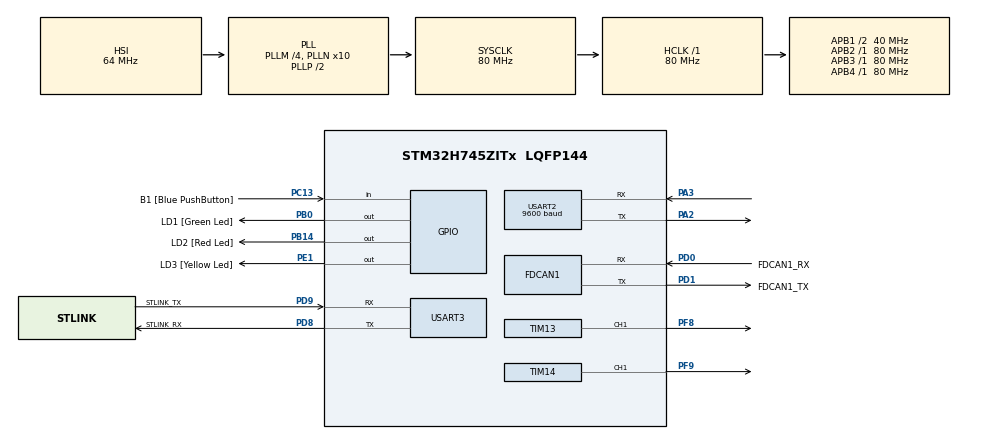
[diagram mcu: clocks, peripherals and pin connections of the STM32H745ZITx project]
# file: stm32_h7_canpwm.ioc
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CortexM4.IPs=BDMA,CORTEX_M4\:I,DEBUG,DMA,FATFS_M4\:I,FREERTOS_M4\:I,GPIO,IWDG2\:I,MDMA,NVIC2\:I,OPENAMP_M4\:I,PDM2PCM_M4\:I,PWR,RCC,RESMGR_UTILITY,SYS_M4\:I,USB_DEVICE_M4\:I,USB_HOST_M4\:I,VREFBUF,WWDG2\:I,USART3
CortexM4.Pins=PE1
CortexM7.IPs=BDMA\:I,CORTEX_M7\:I,DEBUG\:I,DMA\:I,FATFS_M7\:I,FREERTOS_M7\:I,GPIO\:I,IWDG1\:I,MDMA\:I,NVIC1\:I,OPENAMP_M7\:I,PDM2PCM_M7\:I,PWR\:I,RCC\:I,RESMGR_UTILITY\:I,SYS\:I,USB_DEVICE_M7\:I,USB_HOST_M7\:I,VREFBUF\:I,WWDG1\:I,USART3\:I,FDCAN1\:I,MEMORYMAP\:I,TIM13\:I,TIM14\:I,USART2\:I
CortexM7.Pins=PC13,PB0,PB14
FDCAN1.CalculateBaudRateNominal=500000
FDCAN1.CalculateTimeBitNominal=2000
FDCAN1.CalculateTimeQuantumNominal=50.0
FDCAN1.Mode=FDCAN_MODE_NORMAL
FDCAN1.NominalPrescaler=2
FDCAN1.NominalSyncJumpWidth=8
FDCAN1.NominalTimeSeg1=0x1F
FDCAN1.NominalTimeSeg2=8
FDCAN1.ProtocolException=ENABLE
FDCAN1.RxFifo0ElmtsNbr=50
FDCAN1.StdFiltersNbr=1
FDCAN1.TxFifoQueueElmtsNbr=1
Mcu.Family=STM32H7
Mcu.Name=STM32H745ZITx
Mcu.Package=LQFP144
NVIC1.PriorityGroup=NVIC_PRIORITYGROUP_4
NVIC1.USART2_IRQn=true\:0\:0\:false\:false\:true\:true\:true\:true
NVIC1.USART3_IRQn=true\:0\:0\:false\:false\:true\:true\:true\:true
NVIC2.PriorityGroup=NVIC_PRIORITYGROUP_4
PA13\ (JTMS/SWDIO).Mode=Serial_Wire
PA13\ (JTMS/SWDIO).PinAttribute=CortexM7
PA13\ (JTMS/SWDIO).Signal=DEBUG_JTMS-SWDIO
PA14\ (JTCK/SWCLK).Mode=Serial_Wire
PA14\ (JTCK/SWCLK).PinAttribute=CortexM7
PA14\ (JTCK/SWCLK).Signal=DEBUG_JTCK-SWCLK
PA2.Mode=Asynchronous
PA2.PinAttribute=CortexM7
PA2.Signal=USART2_TX
PA3.Mode=Asynchronous
PA3.PinAttribute=CortexM7
PA3.Signal=USART2_RX
PB0.GPIO_Label=LD1 [Green Led]
PB0.PinAttribute=CortexM7
PB0.Signal=GPIO_Output
PB14.GPIO_Label=LD2 [Red Led]
PB14.PinAttribute=CortexM7
PB14.Signal=GPIO_Output
PC13.GPIO_Label=B1 [Blue PushButton]
PC13.PinAttribute=CortexM7
PC13.Signal=GPIO_Input
PC14-OSC32_IN\ (OSC32_IN).Mode=LSE-External-Oscillator
PC14-OSC32_IN\ (OSC32_IN).PinAttribute=CortexM7
PC14-OSC32_IN\ (OSC32_IN).Signal=RCC_OSC32_IN
PC15-OSC32_OUT\ (OSC32_OUT).Mode=LSE-External-Oscillator
PC15-OSC32_OUT\ (OSC32_OUT).PinAttribute=CortexM7
PC15-OSC32_OUT\ (OSC32_OUT).Signal=RCC_OSC32_OUT
PD0.GPIO_Label=FDCAN1_RX
PD0.GPIO_Speed=GPIO_SPEED_FREQ_VERY_HIGH
PD0.Mode=FDCAN_Activate
PD0.PinAttribute=CortexM7
PD0.Signal=FDCAN1_RX
PD1.GPIO_Label=FDCAN1_TX
PD1.GPIO_PuPd=GPIO_PULLUP
PD1.GPIO_Speed=GPIO_SPEED_FREQ_VERY_HIGH
PD1.Mode=FDCAN_Activate
PD1.PinAttribute=CortexM7
PD1.Signal=FDCAN1_TX
PD8.GPIO_Label=STLINK_RX
PD8.Mode=Asynchronous
PD8.PinAttribute=CortexM7
PD8.Signal=USART3_TX
PD9.GPIO_Label=STLINK_TX
PD9.Mode=Asynchronous
PD9.PinAttribute=CortexM7
PD9.Signal=USART3_RX
PE1.GPIO_Label=LD3 [Yellow Led]
PE1.PinAttribute=CortexM4
PE1.Signal=GPIO_Output
PF8.PinAttribute=CortexM7
PF8.Signal=S_TIM13_CH1
PF9.PinAttribute=CortexM7
PF9.Signal=S_TIM14_CH1
PH0-OSC_IN\ (PH0).Mode=HSE-External-Clock-Source
PH0-OSC_IN\ (PH0).PinAttribute=CortexM7
PH0-OSC_IN\ (PH0).Signal=RCC_OSC_IN
ProjectManager.HeapSize=M4-0x200,M7-0x200
ProjectManager.StackSize=M4-0x400,M7-0x400
ProjectManager.TargetToolchain=STM32CubeIDE
RCC.ADCFreq_Value=72000000
RCC.APB1Freq_Value=40000000
RCC.APB2Freq_Value=80000000
RCC.APB3Freq_Value=80000000
RCC.APB4Freq_Value=80000000
RCC.CortexFreq_Value=80000000
RCC.D2PPRE1=RCC_APB1_DIV2
RCC.DIVM1=4
RCC.DIVM2=4
RCC.DIVN1=10
RCC.DIVN2=9
RCC.DIVQ1=4
RCC.HCLKFreq_Value=80000000
RCC.HSE_VALUE=8000000
RCC.PLLFRACN=0
RCC.SYSCLKFreq_VALUE=80000000
RCC.SYSCLKSource=RCC_SYSCLKSOURCE_PLLCLK
RCC.SupplySource=PWR_DIRECT_SMPS_SUPPLY
RCC.USBFreq_Value=40000000
SH.S_TIM13_CH1.0=TIM13_CH1,PWM Generation1 CH1
SH.S_TIM14_CH1.0=TIM14_CH1,PWM Generation1 CH1
SYS.userName=SYS_M7
TIM13.Channel=TIM_CHANNEL_1
TIM13.Period=19999
TIM13.Prescaler=79
TIM13.Pulse=1500
TIM14.Channel=TIM_CHANNEL_1
TIM14.Period=19999
TIM14.Prescaler=79
TIM14.Pulse=1500
USART2.BaudRate=9600
USART2.VirtualMode-Asynchronous=VM_ASYNC
USART3.VirtualMode-Asynchronous=VM_ASYNC
VP_MEMORYMAP_VS_MEMORYMAP.Mode=CurAppReg
VP_SYS_M4_VS_Systick.Mode=SysTick
VP_TIM13_VS_ClockSourceINT.Mode=Enable_Timer
VP_TIM14_VS_ClockSourceINT.Mode=Enable_Timer
board=custom

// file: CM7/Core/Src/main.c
/* USER CODE BEGIN Header */
/**
  ******************************************************************************
  * @file           : main.c
  * @brief          : Main program body
  ******************************************************************************
  * @attention
  *
  * Copyright (c) 2022 STMicroelectronics.
  * All rights reserved.
  *
  * This software is licensed under terms that can be found in the LICENSE file
  * in the root directory of this software component.
  * If no LICENSE file comes with this software, it is provided AS-IS.
  *
  ******************************************************************************
  */
/* USER CODE END Header */
#include "main.h"

/* USER CODE BEGIN Includes */
#include "myprintf.h"
#include <stdbool.h>
#include <string.h>
#include <ctype.h>
#include <stdlib.h>   // strtod
#include <errno.h>    // errno, ERANGE
#include <math.h>     // isfinite
#include <stdint.h>
#define UART_MAILBOX_IMPL     // <-- defines the implementation once
#include "uart_mailbox.h"
/* USER CODE END Includes */

/* USER CODE BEGIN PD */

#ifndef HSEM_ID_0
#define HSEM_ID_0 (0U) /* HW semaphore 0*/
#endif
/* USER CODE END PD */

FDCAN_HandleTypeDef hfdcan1;

TIM_HandleTypeDef htim13;
TIM_HandleTypeDef htim14;

UART_HandleTypeDef huart2;
UART_HandleTypeDef huart3;

/* USER CODE BEGIN PV */
float turn = 0.5f;
int8_t throttle = 0;
int8_t steering = 0;
float speed = 1.0f;   // throttle multiplier

FDCAN_FilterTypeDef sFilterConfig;
FDCAN_TxHeaderTypeDef TxHeader;
FDCAN_RxHeaderTypeDef RxHeader;
uint8_t TxData[8] = {0x10, 0x34, 0x54, 0x76, 0x98, 0x00, 0x11, 0x22};
uint8_t RxData[8];
static uart_mb_t *g_mb = NULL;   // <-- app-owned “global”
/* USER CODE END PV */

void SystemClock_Config(void);
static void MX_GPIO_Init(void);
static void MX_USART3_UART_Init(void);
static void MX_FDCAN1_Init(void);
static void MX_TIM13_Init(void);
static void MX_TIM14_Init(void);
static void MX_USART2_UART_Init(void);
/* USER CODE BEGIN PFP */
void handleToggle(char **args, int argc);
void handleSetTurn(char **args, int argc);
/* USER CODE END PFP */

/* USER CODE BEGIN 0 */
// COMMANDS
#ifndef CMD_BUF_SZ
#define CMD_BUF_SZ 128
#endif
#define MAX_ARGS 8
typedef void (*CommandHandler)(char **args, int argc);
typedef struct {
    const char *name;
    CommandHandler handler;
} CommandEntry;
typedef struct {
    CommandHandler handler;
    char *args[MAX_ARGS];
    int argc;
    bool valid;
} ParsedCommand;
const CommandEntry commandTable[] = {
    { "TOGGLE", handleToggle },
    { "SETTURN", handleSetTurn },
};
#define NUM_COMMANDS (sizeof(commandTable) / sizeof(commandTable[0]))

// CAN FUNCTIONS
static inline uint8_t dlc_to_bytes(uint32_t dlc) {
    static const uint8_t map[16] = {0,1,2,3,4,5,6,7,8,12,16,20,24,32,48,64};
    return (dlc < 16) ? map[dlc] : 0;
}
void loopPrintAllCAN(void)
{
    FDCAN_RxHeaderTypeDef RxHeader;
    uint8_t RxData[64];  // safe for FD
    const uint32_t heartbeatIntervalMs = 1000;
    uint32_t lastHeartbeat = HAL_GetTick();

    printf("\n\r[CAN Monitor] Listening for messages...\n\r");

    while (1) {
        if (HAL_FDCAN_GetRxMessage(&hfdcan1, FDCAN_RX_FIFO0, &RxHeader, RxData) == HAL_OK) {
            uint32_t raw = RxHeader.DataLength;
            uint8_t len  = (raw <= 64) ? (uint8_t)raw          // HAL variant where DataLength == bytes
                                       : dlc_to_bytes(raw >> 16); // HAL variant with DLC<<16

            printf("ID: 0x%03lX | Type: %s | Len: %u | Data:",
                   (unsigned long)RxHeader.Identifier,
                   (RxHeader.IdType == FDCAN_STANDARD_ID ? "STD" : "EXT"),
                   (unsigned)len);

            for (uint8_t i = 0; i < len; i++) printf(" %02X", RxData[i]);
            printf("\n\r");
        }

        uint32_t now = HAL_GetTick();
        if ((uint32_t)(now - lastHeartbeat) >= heartbeatIntervalMs) {
            printf("[CAN Monitor] Heartbeat... system alive (%lu ms)\n\r", (unsigned long)now);
            lastHeartbeat = now;
        }
        HAL_Delay(1);
    }
}
int32_t readEncoder(int32_t timeoutMs /* = -1 */)
{
    static int32_t lastPosition = 0;
    FDCAN_RxHeaderTypeDef RxHeader;
    uint8_t RxData[8];
    HAL_StatusTypeDef status;

    if (timeoutMs == -1)
        timeoutMs = 200;  // Default wait time

    // printf("\n\r[readEncoder] Draining FIFO...\n\r");

    int framesRead = 0;
    int fifoCapacity = hfdcan1.Init.RxFifo0ElmtsNbr;

    // 1) Drain FIFO0 completely, keep the latest valid frame
    do {
        status = HAL_FDCAN_GetRxMessage(&hfdcan1, FDCAN_RX_FIFO0, &RxHeader, RxData);
        if (status == HAL_OK &&
            RxHeader.IdType == FDCAN_STANDARD_ID &&
            RxHeader.Identifier == 0x123)
        {
            int32_t val;
            memcpy(&val, RxData, sizeof(val));
            lastPosition = val;
            framesRead++;
        }
    } while (status == HAL_OK);

    // printf("[readEncoder] Frames drained: %d | FIFO capacity: %d | Latest value: %ld\n\r",
    //        framesRead, fifoCapacity, (long)lastPosition);

    // 2) If FIFO was full, decide whether to wait for a fresh frame
    if (framesRead >= fifoCapacity && timeoutMs > 0) {
        // printf("[readEncoder] FIFO likely full -> waiting up to %ld ms for a fresh frame...\n\r",
        //        (long)timeoutMs);

        uint32_t timeout = HAL_GetTick() + (uint32_t)timeoutMs;
        uint32_t waited = 0;
        while (HAL_GetTick() < timeout) {
            if (HAL_FDCAN_GetRxMessage(&hfdcan1, FDCAN_RX_FIFO0, &RxHeader, RxData) == HAL_OK &&
                RxHeader.IdType == FDCAN_STANDARD_ID &&
                RxHeader.Identifier == 0x123)
            {
                int32_t val;
                memcpy(&val, RxData, sizeof(val));
                lastPosition = val;
                // printf("[readEncoder] New frame received after %lu ms | Latest value: %ld\n\r",
                //        (unsigned long)waited, (long)lastPosition);
                break;
            }
            HAL_Delay(1);
            waited++;
        }

        // if (HAL_GetTick() >= timeout)
        //     printf("[readEncoder] Timeout (%ld ms) reached, returning last known value: %ld\n\r",
        //            (long)timeoutMs, (long)lastPosition);
    }
    // else if (timeoutMs == 0) {
    //     printf("[readEncoder] Non-blocking mode, returning immediately (may be stale): %ld\n\r",
    //            (long)lastPosition);
    // }
    // else {
    //     printf("[readEncoder] FIFO not full, returning immediately: %ld\n\r",
    //            (long)lastPosition);
    // }

    return lastPosition;
}
void loopPrintEncoder(void)
{
    const uint32_t printIntervalMs = 100;   // print every 100 ms
    const uint32_t heartbeatIntervalMs = 1000; // heartbeat every 1 s
    uint32_t lastPrint = HAL_GetTick();
    uint32_t lastHeartbeat = HAL_GetTick();

    printf("\n\r[Encoder Monitor] Starting...\n\r");

    while (1)
    {
        uint32_t now = HAL_GetTick();

        // 1) Periodically read encoder value
        if (now - lastPrint >= printIntervalMs)
        {
            int32_t encoderCount = readEncoder(-1);
            printf("Encoder: %ld\n\r", (long)encoderCount);
            lastPrint = now;
        }

        // 2) Heartbeat every second
        if (now - lastHeartbeat >= heartbeatIntervalMs)
        {
            printf("[Encoder Monitor] Alive (%lu ms)\n\r", (unsigned long)now);
            lastHeartbeat = now;
        }

        HAL_Delay(1);
    }
}

// MOTORS AND SERVOS
void Turning_SetAngle(float steer)
{
    /* 0) Preprocess normalized input (-1..1) → (-90..90 degrees) */
    float angle = steer * 90.0f;

	/* 1) Clamp input */
    if (angle < -90.0f) angle = -90.0f;
    if (angle >  90.0f) angle =  90.0f;

    /* 2) Map to pulse width in microseconds */
    float pulseWidth = 1000.0f + (angle * 1000.0f) / 180.0f;   // 1000..2000 us

    /* 3) Convert to compare value and clamp to ARR */
    uint32_t arr   = __HAL_TIM_GET_AUTORELOAD(&htim13);        // e.g., 19999 for 20 ms frame
    int32_t  value = (int32_t)lroundf(pulseWidth);             // round to nearest tick

    if (value < 0) value = 0;
    if ((uint32_t)value > arr) value = (int32_t)arr;

    /* 4) Write compare register */
    __HAL_TIM_SET_COMPARE(&htim13, TIM_CHANNEL_1, (uint32_t)value);
}
void SetEscSpeed(float value)
{
    /* 1) Clamp input range */
    if (value < -1.0f) value = -1.0f;
    if (value >  2.0f) value =  2.0f;

    /* 2) Adjust asymmetry:
          Forward (positive) -> halve output
          Reverse (negative) -> unchanged */
    if (value > 0.0f)
        value *= 0.5f;

    /* 3) Map to pulse width (µs)
          -1 → 1000 µs
           0 → 1500 µs
          +1 → 2000 µs
    */
    float pulseWidth = 1500.0f + (value * 500.0f);

    /* 4) Convert µs to timer ticks (1 tick = 1 µs assumed) */
    uint32_t arr = __HAL_TIM_GET_AUTORELOAD(&htim14);
    int32_t ticks = (int32_t)lroundf(pulseWidth);

    /* 5) Clamp within timer range */
    if (ticks < 0) ticks = 0;
    if ((uint32_t)ticks > arr) ticks = (int32_t)arr;

    /* 6) Apply PWM */
    __HAL_TIM_SET_COMPARE(&htim14, TIM_CHANNEL_1, (uint32_t)ticks);
}
void StopCarEsc(void)
{
    SetEscSpeed(0.0f);   // Neutral = 1500 µs pulse
}
void debugSetup() {
	float dbg_spd = 0.5f;
	float dbg_str = 0.0f;

	while (1) {
		int32_t current = readEncoder(-1);
		SetEscSpeed(dbg_spd);
		Turning_SetAngle(dbg_str);
		StopCarEsc();
	}
}

// NAVIGATION
void goDistance(float meters, float speed)
{
    const float COUNTS_PER_METER = 16066.0f;
    int32_t targetCounts = (int32_t)(meters * COUNTS_PER_METER);

    printf("\n\r=== Move Forward %.2f m ===\n\r", meters);
    printf("Target counts: %ld\n\r", (long)targetCounts);

    // Make sure car is stopped
    SetEscSpeed(0);
    HAL_Delay(1000);

    int32_t startCount = readEncoder(-1);
    int32_t current = startCount;
    int32_t delta = 0;

    uint32_t lastPrint = HAL_GetTick();  // track print intervals

    printf("Moving forward at %.2f...\n\r", speed);
    while (1)
    {
		SetEscSpeed(speed);
        current = readEncoder(-1);
        delta = current - startCount;

        // Stop once target reached
        if (delta >= targetCounts)
        {
            StopCarEsc();
            printf("\n\rTarget reached! Δ=%ld\n\r", (long)delta);
            break;
        }

        // Print every 200 ms (not every loop)
        if (HAL_GetTick() - lastPrint >= 200)
        {
            printf("Δ: %ld / %ld\r", (long)delta, (long)targetCounts);
            lastPrint = HAL_GetTick();
        }

        // Short loop delay (fast polling, low CPU use)
        HAL_Delay(2);
    }

    int32_t finalCount = readEncoder(-1);
    printf("Final count: %ld | Total Δ: %ld\n\r",
           (long)finalCount, (long)(finalCount - startCount));
}

void goDistanceP(float meters, float kP, float maxSpeed)
{
    const float COUNTS_PER_METER = 16066.0f;
    const int32_t DEADBAND = 100;     // counts
    const float MIN_THROTTLE = 0.08f; // minimum throttle magnitude

    printf("\n\r=== Move %.2f m (kP=%.3f, maxSpeed=%.2f) ===\n\r",
           meters, kP, maxSpeed);

    // Ensure car is stopped and ESC armed
    printf("Ensuring vehicle is stopped...\n\r");
    SetEscSpeed(0.0f);
    HAL_Delay(1000);

    int32_t startCount = readEncoder(-1);
    uint32_t lastPrint = HAL_GetTick();

    printf("Starting proportional distance hold...\n\r");

    while (1)
    {
        // Recalculate target dynamically (for debugger tuning)
        int32_t targetCounts = (int32_t)(meters * COUNTS_PER_METER);

        int32_t current = readEncoder(-1);
        int32_t delta   = current - startCount;
        int32_t error   = targetCounts - delta;

        float speedCmd = 0.0f;

        // Apply proportional control only outside deadband
        if (error > DEADBAND)
            speedCmd =  kP * error;
        else if (error < -DEADBAND)
            speedCmd =  kP * error;
        else
            speedCmd = 0.0f;

        // Clamp to max speed
        if (speedCmd >  maxSpeed) speedCmd =  maxSpeed;
        if (speedCmd < -maxSpeed) speedCmd = -maxSpeed;

        // Enforce minimum throttle (only if nonzero command)
        if (speedCmd > 0 && speedCmd <  MIN_THROTTLE) speedCmd =  MIN_THROTTLE;
        if (speedCmd < 0 && speedCmd > -MIN_THROTTLE) speedCmd = -MIN_THROTTLE;

        SetEscSpeed(speedCmd);

        // Periodic debug print
        if (HAL_GetTick() - lastPrint >= 250)
        {
            printf("Δ=%ld | err=%ld | cmd=%.3f\n\r",
                   (long)delta, (long)error, speedCmd);
            lastPrint = HAL_GetTick();
        }

        // No delay — tight control loop
    }
}

float pidDistance(float error, float Kp, float Ki, float Kd, float outMin, float outMax)
{
    static float integral = 0.0f;
    static float prevError = 0.0f;
    static uint32_t lastTick = 0;

    uint32_t now = HAL_GetTick();
    float dt = 0.0f;

    if (lastTick == 0)
    {
        // first call
        lastTick = now;
        prevError = error;
        return 0.0f;
    }

    dt = (now - lastTick) / 1000.0f; // ms → seconds
    lastTick = now;

    // Protect against absurd dt (e.g., after pause)
    if (dt <= 0.0f || dt > 1.0f)
        dt = 0.01f;

    // --- PID calculation ---
    integral += error * dt;
    float derivative = (error - prevError) / dt;

    float output = (Kp * error) + (Ki * integral) + (Kd * derivative);

    // Clamp output
    if (output >  outMax) output =  outMax;
    if (output < outMin) output = outMin;

    prevError = error;
    return output;
}
void goDistancePID_live(void)
{
    // --- CONFIGURABLE PARAMETERS (editable live in debugger) ---
    UART_HandleTypeDef *uart = &huart3;  // switch UART here

    float Kp = 0.001f;   // proportional gain
    float Ki = 0.0f;   // integral gain
    float Kd = 0.0f;   // derivative gain
    float maxSpeed = 0.5f; // output saturation (ESC command)
    float minThrottle = 0.0f;
    int32_t deadband = 100;
    const float COUNTS_PER_METER = 16066.0f;

    // --- INTERNAL STATE ---
    float targetMeters = 0.0f;
    char rxBuf[32];
    int rxIndex = 0;
    char msg[128];
    int len;

    const uint32_t PRINT_INTERVAL_MS = 250;
    uint32_t lastPrint = HAL_GetTick();
    int printEnabled = 1;

    SetEscSpeed(0.0f);
    HAL_Delay(1000);

    len = snprintf(msg, sizeof(msg),
                   "\n\r=== Live PID Distance Control ===\n\r"
                   "Type a distance (m) + ENTER to update target.\n\r");
    HAL_UART_Transmit(uart, (uint8_t*)msg, len, HAL_MAX_DELAY);

    int32_t startCount = readEncoder(-1);

    while (1)
    {
        // --- UART input handling ---
        uint8_t ch;
        if (HAL_UART_Receive(uart, &ch, 1, 0) == HAL_OK)
        {
            // Echo typed character
            HAL_UART_Transmit(uart, &ch, 1, HAL_MAX_DELAY);

            if (ch == '\r' || ch == '\n')
            {
                rxBuf[rxIndex] = '\0';
                if (rxIndex > 0)
                {
                    float newTarget;
                    if (sscanf(rxBuf, "%f", &newTarget) == 1)
                    {
                        targetMeters = newTarget;
                        len = snprintf(msg, sizeof(msg),
                                       "\n\r[Target: %.3f m]\n\r", targetMeters);
                        HAL_UART_Transmit(uart, (uint8_t*)msg, len, HAL_MAX_DELAY);
                    }
                    else
                    {
                        const char invalidMsg[] = "\n\r[Invalid input]\n\r";
                        HAL_UART_Transmit(uart, (uint8_t*)invalidMsg,
                                          strlen(invalidMsg), HAL_MAX_DELAY);
                    }
                    rxIndex = 0;
                }
            }
            else if (rxIndex < (int)sizeof(rxBuf) - 1)
            {
                rxBuf[rxIndex++] = ch;
            }
        }

        // --- Encoder + error calculation ---
        int32_t targetCounts = (int32_t)(targetMeters * COUNTS_PER_METER);
        int32_t current = readEncoder(-1);
        int32_t delta   = current - startCount;
        int32_t error   = targetCounts - delta;

        // --- PID control output ---
        float speedCmd = 0.0f;

        if (error >  deadband || error < -deadband)
            speedCmd = pidDistance((float)error, Kp, Ki, Kd, -maxSpeed, maxSpeed);
        else
            speedCmd = 0.0f;

        // --- Minimum throttle enforcement ---
        if (speedCmd > 0 && speedCmd <  minThrottle) speedCmd =  minThrottle;
        if (speedCmd < 0 && speedCmd > -minThrottle) speedCmd = -minThrottle;

        SetEscSpeed(speedCmd);

        // --- Smarter print logic ---
        if (HAL_GetTick() - lastPrint >= PRINT_INTERVAL_MS)
        {
            lastPrint = HAL_GetTick();

            if (speedCmd != 0.0f || error > deadband || error < -deadband)
            {
                printEnabled = 1;
                len = snprintf(msg, sizeof(msg),
                               "Δ=%ld e=%ld u=%.2f\r\n",
                               (long)delta, (long)error, speedCmd);
                HAL_UART_Transmit(uart, (uint8_t*)msg, len, HAL_MAX_DELAY);
            }
            else if (printEnabled)
            {
                const char doneMsg[] = "[At target]\r\n";
                HAL_UART_Transmit(uart, (uint8_t*)doneMsg, strlen(doneMsg), HAL_MAX_DELAY);
                printEnabled = 0;
            }
        }
    }
}

// SERIAL COMMS
ParsedCommand parseCommandLine(char *input, const CommandEntry *table, int tableSize)
{
    ParsedCommand result = {0};
    result.valid = false;

    if (!input || *input == '\0')
        return result;

    // Trim leading spaces
    while (isspace((unsigned char)*input)) input++;
    if (*input == '\0')
        return result;

    // Find the function name / argument separator
    char *colon = strchr(input, ':');
    char *funcEnd = colon ? colon : input + strlen(input);

    // Extract command name
    *funcEnd = '\0';
    for (char *p = input; *p; ++p)
        *p = toupper((unsigned char)*p);

    // Look up the handler
    for (int i = 0; i < tableSize; i++) {
        if (strcmp(table[i].name, input) == 0) {
            result.handler = table[i].handler;
            result.valid = true;
            break;
        }
    }

    if (!result.valid)
        return result;  // unknown command

    // No colon? → no arguments
    if (!colon)
        return result;

    // Parse arguments after the colon
    char *argString = colon + 1;
    int argc = 0;

    while (argc < MAX_ARGS) {
        // Find next comma or end
        char *comma = strchr(argString, ',');
        if (comma)
            *comma = '\0';

        // Trim spaces
        while (isspace((unsigned char)*argString)) argString++;
        if (*argString)
            result.args[argc++] = argString;

        if (!comma)
            break;  // no more commas
        argString = comma + 1;
    }

    result.argc = argc;
    return result;
}
void decodeDirection(char input, int8_t *throttle, int8_t *steering)
{
    switch (input) {
        case 'F': *throttle =  1; *steering =  0; break;  // Forward
        case 'B': *throttle = -1; *steering =  0; break;  // Backward
        case 'L': *throttle =  0; *steering = -1; break;  // Left
        case 'R': *throttle =  0; *steering =  1; break;  // Right
        case 'G': *throttle =  1; *steering = -1; break;  // Forward + Left
        case 'H': *throttle =  1; *steering =  1; break;  // Forward + Right
        case 'I': *throttle = -1; *steering = -1; break;  // Backward + Left
        case 'J': *throttle = -1; *steering =  1; break;  // Backward + Right
        case 'S': *throttle =  0; *steering =  0; break;  // Stop
        default: break;
    }
}
void decodeSpeedChar(char input, float *speed)
{
    if (input >= '0' && input <= '9') {
        int digit = input - '0';
        *speed = (digit + 1) / 10.0f;   // '0'–'9' -> 0.1–1.0
    }
}
void echo() {
	uart_mb_t *mb = g_mb;
    const char *hello = "Mailbox echo ready\r\n";
    HAL_UART_Transmit(mb->huart, (uint8_t*)hello, strlen(hello), HAL_MAX_DELAY);

    uint8_t b;
    for (;;) {
        while (uart_mb_get(mb, &b)) {
            HAL_UART_Transmit(mb->huart, &b, 1, HAL_MAX_DELAY);
        }
        HAL_Delay(2);
    }
}
void echo_all(void) {
    uint8_t b;
    for (;;) {
        while (uart_mb_get_any(&b)) {
            uart_mb_send_all(&b, 1, 1000);
        }
        HAL_Delay(2);
    }
}
static void processShortCmd(uint8_t cmd)
{
    char msg[64];

    decodeDirection(cmd, &throttle, &steering);
    decodeSpeedChar(cmd, &speed);

    // Scale throttle to ±2.0, steering fixed to ±0.5
    float appliedThrottle = throttle * speed * 2.0f;
    float appliedSteering = steering * turn;

    SetEscSpeed(appliedThrottle);
    Turning_SetAngle(appliedSteering);

    int len = snprintf(msg, sizeof(msg),
                       "Cmd:%c | Th:%.2f | St:%.2f | Spd:%.1f\r\n",
                       cmd, appliedThrottle, appliedSteering, speed);

    uart_mb_send_all((uint8_t*)msg, len, HAL_MAX_DELAY);
}
static void processLongCmd(const uint8_t *buf, size_t len)
{
    // 1) Make a mutable, NUL-terminated copy for parseCommandLine()
    char line[CMD_BUF_SZ + 1];
    if (len > CMD_BUF_SZ) len = CMD_BUF_SZ;      // clamp
    memcpy(line, buf, len);
    line[len] = '\0';

    // 2) Parse: NAME[:arg1,arg2,...]
    ParsedCommand pc = parseCommandLine(line, commandTable, (int)NUM_COMMANDS);

    // 3) Dispatch or report error
    if (pc.valid && pc.handler) {
        pc.handler(pc.args, pc.argc);
    } else {
        char msg[64];
        int n = snprintf(msg, sizeof(msg), "ERR:UNKNOWN_CMD\r\n");
        uart_mb_send_all((uint8_t*)msg, (uint16_t)n, HAL_MAX_DELAY);
    }
}
void commandLoop(void)
{
    static uint8_t  collecting = 0;
    static uint16_t cmdLen = 0;
    static uint8_t  cmdBuf[CMD_BUF_SZ];

    uint8_t b;

    for (;;)
    {
        while (uart_mb_get_any(&b))
        {
            if (!collecting) {
                if (b == '#') {
                    collecting = 1;
                    cmdLen = 0;
                } else if (b != ';') {
                    processShortCmd(b);
                }
            } else {
                if (b == ';') {
                    if (cmdLen > 0) processLongCmd(cmdBuf, cmdLen);
                    collecting = 0;
                    cmdLen = 0;
                } else {
                    if (cmdLen < CMD_BUF_SZ) {
                        cmdBuf[cmdLen++] = b;
                    } else {
                        // Overflow policy: flush current chunk then continue
                        processLongCmd(cmdBuf, cmdLen);
                        cmdLen = 0;
                        cmdBuf[cmdLen++] = b;
                    }
                }
            }
        }
        HAL_Delay(2);
    }
}

// COMMAND HANDLERS
void handleToggle(char **args, int argc)
{
    HAL_GPIO_TogglePin(LD1_GPIO_Port, LD1_Pin);
}
static inline char *rtrim(char *s) {
    size_t n = strlen(s);
    while (n && (unsigned char)s[n-1] <= ' ') s[--n] = '\0';  // trims space, \r, \n, \t
    return s;
}
void handleSetTurn(char **args, int argc)
{
    if (argc < 1) {
        uart_mb_send_all_cstr("ERR:Missing argument\r\n", 1000);
        return;
    }

    char tmp[32];
    size_t L = strlen(args[0]);
    if (L >= sizeof(tmp)) L = sizeof(tmp) - 1;
    memcpy(tmp, args[0], L);
    tmp[L] = '\0';

    rtrim(tmp);
    for (char *p = tmp; *p; ++p) if (*p == ',') *p = '.';  // allow "0,2"

    errno = 0;
    char *end = NULL;
    double dv = strtod(tmp, &end);  // <— portable
    while (end && *end && (unsigned char)*end <= ' ') end++;  // ignore trailing spaces

    if (end == tmp || (end && *end != '\0') || !isfinite(dv) || errno == ERANGE) {
        uart_mb_send_all_cstr("ERR:Invalid float\r\n", 1000);
        return;
    }

    turn = (float)dv;
    float appliedSteering = steering * turn;
    Turning_SetAngle(appliedSteering);

    char msg[48];
    snprintf(msg, sizeof(msg), "OK:TURN=%.3f\r\n", (double)turn);
    uart_mb_send_all_cstr(msg, 1000);
}

/* USER CODE END 0 */

int main(void)
{

/* USER CODE BEGIN Boot_Mode_Sequence_0 */
  int32_t timeout;
/* USER CODE END Boot_Mode_Sequence_0 */

/* USER CODE BEGIN Boot_Mode_Sequence_1 */
  /* Wait until CPU2 boots and enters in stop mode or timeout*/
  timeout = 0xFFFF;
//  while((__HAL_RCC_GET_FLAG(RCC_FLAG_D2CKRDY) != RESET) && (timeout-- > 0));
  if ( timeout < 0 )
  {
  Error_Handler();
  }
/* USER CODE END Boot_Mode_Sequence_1 */
  /* MCU Configuration--------------------------------------------------------*/

  /* Reset of all peripherals, Initializes the Flash interface and the Systick. */
  HAL_Init();

  /* Configure the system clock */
  SystemClock_Config();
/* USER CODE BEGIN Boot_Mode_Sequence_2 */
/* When system initialization is finished, Cortex-M7 will release Cortex-M4 by means of
HSEM notification */
/*HW semaphore Clock enable*/
__HAL_RCC_HSEM_CLK_ENABLE();
/*Take HSEM */
HAL_HSEM_FastTake(HSEM_ID_0);
/*Release HSEM in order to notify the CPU2(CM4)*/
HAL_HSEM_Release(HSEM_ID_0,0);
/* wait until CPU2 wakes up from stop mode */
timeout = 0xFFFF;
while((__HAL_RCC_GET_FLAG(RCC_FLAG_D2CKRDY) == RESET) && (timeout-- > 0));
if ( timeout < 0 )
{
Error_Handler();
}
/* USER CODE END Boot_Mode_Sequence_2 */

  /* Initialize all configured peripherals */
  MX_GPIO_Init();
  MX_USART3_UART_Init();
  MX_FDCAN1_Init();
  MX_TIM13_Init();
  MX_TIM14_Init();
  MX_USART2_UART_Init();
  /* USER CODE BEGIN 2 */
  HAL_TIM_PWM_Start(&htim13, TIM_CHANNEL_1);
  HAL_TIM_PWM_Start(&htim14, TIM_CHANNEL_1);
  Turning_SetAngle(0);
  uart_mb_register(&huart3, &g_mb);  // choose which UART feeds the global mailbox
  uart_mb_register(&huart2, NULL);
//  echo_all();
//  commandLoop();
  loopPrintAllCAN();
//  loopPrintEncoder();
  /* USER CODE END 2 */

  /* Infinite loop */
  while (1)
  {

  }
}

void SystemClock_Config(void)
{
  RCC_OscInitTypeDef RCC_OscInitStruct = {0};
  RCC_ClkInitTypeDef RCC_ClkInitStruct = {0};

  /** Supply configuration update enable
  */
  HAL_PWREx_ConfigSupply(PWR_DIRECT_SMPS_SUPPLY);

  /** Configure the main internal regulator output voltage
  */
  __HAL_PWR_VOLTAGESCALING_CONFIG(PWR_REGULATOR_VOLTAGE_SCALE3);

  while(!__HAL_PWR_GET_FLAG(PWR_FLAG_VOSRDY)) {}

  /** Initializes the RCC Oscillators according to the specified parameters
  * in the RCC_OscInitTypeDef structure.
  */
  RCC_OscInitStruct.OscillatorType = RCC_OSCILLATORTYPE_HSI;
  RCC_OscInitStruct.HSIState = RCC_HSI_DIV1;
  RCC_OscInitStruct.HSICalibrationValue = RCC_HSICALIBRATION_DEFAULT;
  RCC_OscInitStruct.PLL.PLLState = RCC_PLL_ON;
  RCC_OscInitStruct.PLL.PLLSource = RCC_PLLSOURCE_HSI;
  RCC_OscInitStruct.PLL.PLLM = 4;
  RCC_OscInitStruct.PLL.PLLN = 10;
  RCC_OscInitStruct.PLL.PLLP = 2;
  RCC_OscInitStruct.PLL.PLLQ = 4;
  RCC_OscInitStruct.PLL.PLLR = 2;
  RCC_OscInitStruct.PLL.PLLRGE = RCC_PLL1VCIRANGE_3;
  RCC_OscInitStruct.PLL.PLLVCOSEL = RCC_PLL1VCOMEDIUM;
  RCC_OscInitStruct.PLL.PLLFRACN = 0;
  if (HAL_RCC_OscConfig(&RCC_OscInitStruct) != HAL_OK)
  {
    Error_Handler();
  }

  /** Initializes the CPU, AHB and APB buses clocks
  */
  RCC_ClkInitStruct.ClockType = RCC_CLOCKTYPE_HCLK|RCC_CLOCKTYPE_SYSCLK
                              |RCC_CLOCKTYPE_PCLK1|RCC_CLOCKTYPE_PCLK2
                              |RCC_CLOCKTYPE_D3PCLK1|RCC_CLOCKTYPE_D1PCLK1;
  RCC_ClkInitStruct.SYSCLKSource = RCC_SYSCLKSOURCE_PLLCLK;
  RCC_ClkInitStruct.SYSCLKDivider = RCC_SYSCLK_DIV1;
  RCC_ClkInitStruct.AHBCLKDivider = RCC_HCLK_DIV1;
  RCC_ClkInitStruct.APB3CLKDivider = RCC_APB3_DIV1;
  RCC_ClkInitStruct.APB1CLKDivider = RCC_APB1_DIV2;
  RCC_ClkInitStruct.APB2CLKDivider = RCC_APB2_DIV1;
  RCC_ClkInitStruct.APB4CLKDivider = RCC_APB4_DIV1;

  if (HAL_RCC_ClockConfig(&RCC_ClkInitStruct, FLASH_LATENCY_1) != HAL_OK)
  {
    Error_Handler();
  }
}

static void MX_FDCAN1_Init(void)
{

  hfdcan1.Instance = FDCAN1;
  hfdcan1.Init.FrameFormat = FDCAN_FRAME_CLASSIC;
  hfdcan1.Init.Mode = FDCAN_MODE_NORMAL;
  hfdcan1.Init.AutoRetransmission = DISABLE;
  hfdcan1.Init.TransmitPause = DISABLE;
  hfdcan1.Init.ProtocolException = ENABLE;
  hfdcan1.Init.NominalPrescaler = 2;
  hfdcan1.Init.NominalSyncJumpWidth = 8;
  hfdcan1.Init.NominalTimeSeg1 = 0x1F;
  hfdcan1.Init.NominalTimeSeg2 = 8;
  hfdcan1.Init.DataPrescaler = 1;
  hfdcan1.Init.DataSyncJumpWidth = 1;
  hfdcan1.Init.DataTimeSeg1 = 1;
  hfdcan1.Init.DataTimeSeg2 = 1;
  hfdcan1.Init.MessageRAMOffset = 0;
  hfdcan1.Init.StdFiltersNbr = 1;
  hfdcan1.Init.ExtFiltersNbr = 0;
  hfdcan1.Init.RxFifo0ElmtsNbr = 50;
  hfdcan1.Init.RxFifo0ElmtSize = FDCAN_DATA_BYTES_8;
  hfdcan1.Init.RxFifo1ElmtsNbr = 0;
  hfdcan1.Init.RxFifo1ElmtSize = FDCAN_DATA_BYTES_8;
  hfdcan1.Init.RxBuffersNbr = 0;
  hfdcan1.Init.RxBufferSize = FDCAN_DATA_BYTES_8;
  hfdcan1.Init.TxEventsNbr = 0;
  hfdcan1.Init.TxBuffersNbr = 0;
  hfdcan1.Init.TxFifoQueueElmtsNbr = 1;
  hfdcan1.Init.TxFifoQueueMode = FDCAN_TX_FIFO_OPERATION;
  hfdcan1.Init.TxElmtSize = FDCAN_DATA_BYTES_8;
  if (HAL_FDCAN_Init(&hfdcan1) != HAL_OK)
  {
    Error_Handler();
  }
  /* USER CODE BEGIN FDCAN1_Init 2 */
      /*AAO+*/
        sFilterConfig.IdType = FDCAN_STANDARD_ID;
        sFilterConfig.FilterIndex = 0;
        sFilterConfig.FilterType = FDCAN_FILTER_MASK;
        sFilterConfig.FilterConfig = FDCAN_FILTER_TO_RXFIFO0;
        sFilterConfig.FilterID1 = 0x000;   // base ID (don't care)
        sFilterConfig.FilterID2 = 0x000;   // mask = 0 → accept all messages

        /* Configure global filter to reject all non-matching frames */
        HAL_FDCAN_ConfigGlobalFilter(&hfdcan1, FDCAN_REJECT, FDCAN_REJECT,
                                     FDCAN_REJECT_REMOTE, FDCAN_REJECT_REMOTE);

        if (HAL_FDCAN_ConfigFilter(&hfdcan1, &sFilterConfig) != HAL_OK)
          {
             /* Filter configuration Error */
             Error_Handler();
          }
         /* Start the FDCAN module */
        if (HAL_FDCAN_Start(&hfdcan1) != HAL_OK) {
          }
             /* Start Error */
        if (HAL_FDCAN_ActivateNotification(&hfdcan1, FDCAN_IT_RX_FIFO0_NEW_MESSAGE, 0) != HAL_OK) {
          }
             /* Notification Error */

         /* Configure Tx buffer message */
        TxHeader.Identifier = 0x111;
        TxHeader.IdType = FDCAN_STANDARD_ID;
        TxHeader.TxFrameType = FDCAN_DATA_FRAME;
        TxHeader.DataLength = FDCAN_DLC_BYTES_12;
        TxHeader.ErrorStateIndicator = FDCAN_ESI_ACTIVE;
        TxHeader.BitRateSwitch = FDCAN_BRS_ON;
        TxHeader.FDFormat = FDCAN_FD_CAN;
        TxHeader.TxEventFifoControl = FDCAN_NO_TX_EVENTS;
        TxHeader.MessageMarker = 0x00;
       /*AAO-*/

  /* USER CODE END FDCAN1_Init 2 */

}

static void MX_TIM13_Init(void)
{

  TIM_OC_InitTypeDef sConfigOC = {0};

  htim13.Instance = TIM13;
  htim13.Init.Prescaler = 79;
  htim13.Init.CounterMode = TIM_COUNTERMODE_UP;
  htim13.Init.Period = 19999;
  htim13.Init.ClockDivision = TIM_CLOCKDIVISION_DIV1;
  htim13.Init.AutoReloadPreload = TIM_AUTORELOAD_PRELOAD_DISABLE;
  if (HAL_TIM_Base_Init(&htim13) != HAL_OK)
  {
    Error_Handler();
  }
  if (HAL_TIM_PWM_Init(&htim13) != HAL_OK)
  {
    Error_Handler();
  }
  sConfigOC.OCMode = TIM_OCMODE_PWM1;
  sConfigOC.Pulse = 1500;
  sConfigOC.OCPolarity = TIM_OCPOLARITY_HIGH;
  sConfigOC.OCFastMode = TIM_OCFAST_DISABLE;
  if (HAL_TIM_PWM_ConfigChannel(&htim13, &sConfigOC, TIM_CHANNEL_1) != HAL_OK)
  {
    Error_Handler();
  }
  HAL_TIM_MspPostInit(&htim13);

}

static void MX_TIM14_Init(void)
{

  TIM_OC_InitTypeDef sConfigOC = {0};

  htim14.Instance = TIM14;
  htim14.Init.Prescaler = 79;
  htim14.Init.CounterMode = TIM_COUNTERMODE_UP;
  htim14.Init.Period = 19999;
  htim14.Init.ClockDivision = TIM_CLOCKDIVISION_DIV1;
  htim14.Init.AutoReloadPreload = TIM_AUTORELOAD_PRELOAD_DISABLE;
  if (HAL_TIM_Base_Init(&htim14) != HAL_OK)
  {
    Error_Handler();
  }
  if (HAL_TIM_PWM_Init(&htim14) != HAL_OK)
  {
    Error_Handler();
  }
  sConfigOC.OCMode = TIM_OCMODE_PWM1;
  sConfigOC.Pulse = 1500;
  sConfigOC.OCPolarity = TIM_OCPOLARITY_HIGH;
  sConfigOC.OCFastMode = TIM_OCFAST_DISABLE;
  if (HAL_TIM_PWM_ConfigChannel(&htim14, &sConfigOC, TIM_CHANNEL_1) != HAL_OK)
  {
    Error_Handler();
  }
  HAL_TIM_MspPostInit(&htim14);

}

static void MX_USART2_UART_Init(void)
{

  huart2.Instance = USART2;
  huart2.Init.BaudRate = 9600;
  huart2.Init.WordLength = UART_WORDLENGTH_8B;
  huart2.Init.StopBits = UART_STOPBITS_1;
  huart2.Init.Parity = UART_PARITY_NONE;
  huart2.Init.Mode = UART_MODE_TX_RX;
  huart2.Init.HwFlowCtl = UART_HWCONTROL_NONE;
  huart2.Init.OverSampling = UART_OVERSAMPLING_16;
  huart2.Init.OneBitSampling = UART_ONE_BIT_SAMPLE_DISABLE;
  huart2.Init.ClockPrescaler = UART_PRESCALER_DIV1;
  huart2.AdvancedInit.AdvFeatureInit = UART_ADVFEATURE_NO_INIT;
  if (HAL_UART_Init(&huart2) != HAL_OK)
  {
    Error_Handler();
  }
  if (HAL_UARTEx_SetTxFifoThreshold(&huart2, UART_TXFIFO_THRESHOLD_1_8) != HAL_OK)
  {
    Error_Handler();
  }
  if (HAL_UARTEx_SetRxFifoThreshold(&huart2, UART_RXFIFO_THRESHOLD_1_8) != HAL_OK)
  {
    Error_Handler();
  }
  if (HAL_UARTEx_DisableFifoMode(&huart2) != HAL_OK)
  {
    Error_Handler();
  }

}

static void MX_USART3_UART_Init(void)
{

  huart3.Instance = USART3;
  huart3.Init.BaudRate = 115200;
  huart3.Init.WordLength = UART_WORDLENGTH_8B;
  huart3.Init.StopBits = UART_STOPBITS_1;
  huart3.Init.Parity = UART_PARITY_NONE;
  huart3.Init.Mode = UART_MODE_TX_RX;
  huart3.Init.HwFlowCtl = UART_HWCONTROL_NONE;
  huart3.Init.OverSampling = UART_OVERSAMPLING_16;
  huart3.Init.OneBitSampling = UART_ONE_BIT_SAMPLE_DISABLE;
  huart3.Init.ClockPrescaler = UART_PRESCALER_DIV1;
  huart3.AdvancedInit.AdvFeatureInit = UART_ADVFEATURE_NO_INIT;
  if (HAL_UART_Init(&huart3) != HAL_OK)
  {
    Error_Handler();
  }
  if (HAL_UARTEx_SetTxFifoThreshold(&huart3, UART_TXFIFO_THRESHOLD_1_8) != HAL_OK)
  {
    Error_Handler();
  }
  if (HAL_UARTEx_SetRxFifoThreshold(&huart3, UART_RXFIFO_THRESHOLD_1_8) != HAL_OK)
  {
    Error_Handler();
  }
  if (HAL_UARTEx_DisableFifoMode(&huart3) != HAL_OK)
  {
    Error_Handler();
  }

}

static void MX_GPIO_Init(void)
{
  GPIO_InitTypeDef GPIO_InitStruct = {0};

  /* GPIO Ports Clock Enable */
  __HAL_RCC_GPIOC_CLK_ENABLE();
  __HAL_RCC_GPIOF_CLK_ENABLE();
  __HAL_RCC_GPIOH_CLK_ENABLE();
  __HAL_RCC_GPIOA_CLK_ENABLE();
  __HAL_RCC_GPIOB_CLK_ENABLE();
  __HAL_RCC_GPIOD_CLK_ENABLE();

  /*Configure GPIO pin Output Level */
  HAL_GPIO_WritePin(GPIOB, LD1_Pin|LD2_Pin, GPIO_PIN_RESET);

  /*Configure GPIO pin : B1_Pin */
  GPIO_InitStruct.Pin = B1_Pin;
  GPIO_InitStruct.Mode = GPIO_MODE_INPUT;
  GPIO_InitStruct.Pull = GPIO_NOPULL;
  HAL_GPIO_Init(B1_GPIO_Port, &GPIO_InitStruct);

  /*Configure GPIO pins : LD1_Pin LD2_Pin */
  GPIO_InitStruct.Pin = LD1_Pin|LD2_Pin;
  GPIO_InitStruct.Mode = GPIO_MODE_OUTPUT_PP;
  GPIO_InitStruct.Pull = GPIO_NOPULL;
  GPIO_InitStruct.Speed = GPIO_SPEED_FREQ_LOW;
  HAL_GPIO_Init(GPIOB, &GPIO_InitStruct);

}

void Error_Handler(void)
{
  __disable_irq();
  while (1)
  {
  }
}
